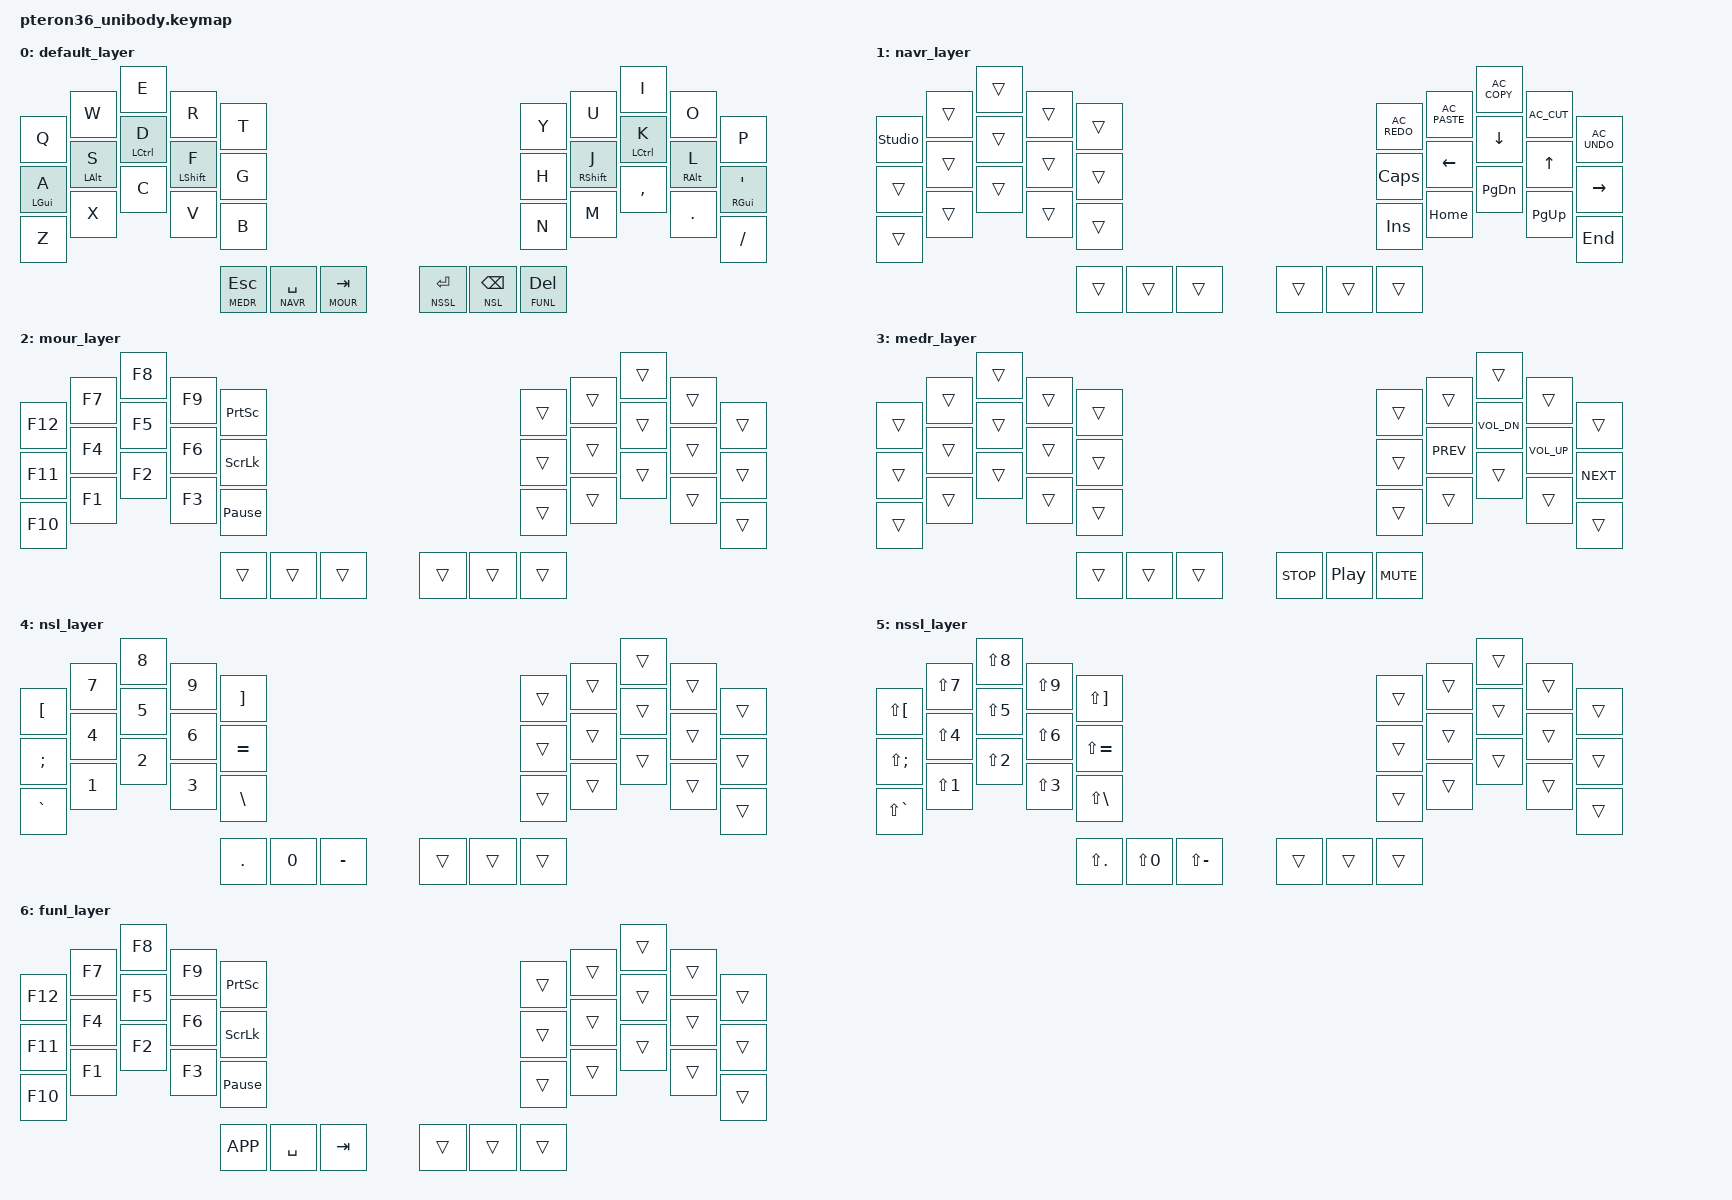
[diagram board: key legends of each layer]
#include <behaviors.dtsi>
#include <dt-bindings/zmk/keys.h>
#include <dt-bindings/zmk/bt.h>
#include <dt-bindings/zmk/ext_power.h>
#include <dt-bindings/zmk/outputs.h>

#define BASE 0
#define NAVR 1
#define MOUR 2
#define MEDR 3
#define NSL 4
#define NSSL 5
#define FUNL 6

/ {
	behaviors {
        hm: homerow_mods {
            compatible = "zmk,behavior-hold-tap";
            label = "HOMEROW_MODS";
            #binding-cells = <2>;
            tapping-term-ms = <200>;
            quick_tap_ms = <0>;
            flavor = "tap-preferred";
            bindings = <&kp>, <&kp>;
        };
    };
	keymap {
		compatible = "zmk,keymap";

		default_layer {
// ------------------------------------------------------------------------------------------------------------
// |  ESC  |  1  |  2  |  3   |  4   |  5   |                   |  6   |  7    |  8    |  9   |   0   |   `   |
// |  TAB  |  Q  |  W  |  E   |  R   |  T   |                   |  Y   |  U    |  I    |  O   |   P   |   -   |
// |  CTRL |  A  |  S  |  D   |  F   |  G   |                   |  H   |  J    |  K    |  L   |   ;   |   '   |
// | SHIFT |  Z  |  X  |  C   |  V   |  B   |   "["  |  |  "]"  |  N   |  M    |  ,    |  .   |   /   | SHIFT |
//                     | ALT  | GUI  | LOWER|  SPACE |  | ENTER | RAISE| BSPC  | GUI   |
			bindings = <
										                																					
	&kp Q  		&kp W 		&kp E		&kp R			&kp T                     							&kp Y		&kp U			&kp I			&kp O		&kp P			
	&hm LGUI A	&hm LALT S	&hm LCTRL D	&hm LSHFT F		&kp G 	                   							&kp H		&hm RSHFT  J	&hm LCTRL  K		&hm RALT  L	&hm RGUI  APOS	
	&kp Z		&kp X		&kp C		&kp V			&kp B										&kp N		&kp M 			&kp COMMA	&kp DOT	&kp FSLH	
                						&lt MEDR ESC	&lt NAVR SPACE 		&lt MOUR TAB 	&lt NSSL RET	&lt NSL BSPC	&lt FUNL DEL 
			>;

			
		};

		navr_layer {
// ------------------------------------------------------------------------------------------------------------
// | BTCLR | BT1 | BT2 |  BT3 |  BT4 |  BT5 |                   |      |       |       |      |       |       |
// |  F1   |  F2 |  F3 |  F4  |  F5  |  F6  |                   |  F7  |  F8   |  F9   |  F10 |  F11  |  F12  |
// |   `   |  !  |  @  |  #   |  $   |  %   |                   |  ^   |  &    |  *    |  (   |   )   |   ~   |
// |       |     |     |      |      |      |        |  |       |      |  _    |  +    |  {   |   }   |  "|"  |
//                     |      |      |      |        |  |       |      |       |       |
			bindings = <

	&studio_unlock	&trans	&trans	&trans	&trans					&kp C_AC_REDO	&kp C_AC_PASTE	&kp C_AC_COPY	&kp C_AC_CUT	&kp C_AC_UNDO	
	&trans	&trans	&trans	&trans	&trans					&kp CAPS	&kp LEFT		&kp DOWN		&kp UP			&kp RIGHT		
	&trans	&trans	&trans	&trans	&trans	            	&kp INS		&kp HOME		&kp PG_DN		&kp PG_UP		&kp END			
                                &trans	&trans	&trans	&trans	&trans	&trans
			>;

			
		};

		mour_layer {
// ------------------------------------------------------------------------------------------------------------
// |       |     |     |      |      |      |                   |      |       |       |      |       |       |
// |   `   |  1  |  2  |  3   |  4   |  5   |                   |  6   |   7   |   8   |  9   |   0   |       |
// |   F1  |  F2 |  F3 |  F4  |  F5  |  F6  |                   |      |   <-  |   ^   |  v   |  ->   |       |
// |   F7  |  F8 |  F9 |  F10 |  F11 |  F12 |        |  |       |  +   |   -   |   =   |  [   |   ]   |   \   |
//                     |      |      |      |        |  |       |      |       |       |
			bindings = <
	&kp F12	&kp	F7	&kp F8	&kp F9	&kp	PSCRN						&trans	&trans	&trans	&trans	&trans	
	&kp	F11	&kp	F4	&kp F5	&kp F6	&kp	SLCK						&trans	&trans	&trans	&trans	&trans	
	&kp	F10	&kp F1	&kp F2	&kp F3	&kp PAUSE_BREAK	            	&trans	&trans	&trans	&trans	&trans	
                        		&trans	&trans	&trans	&trans	&trans	&trans	
			>;

			
		};

		medr_layer {
// ------------------------------------------------------------------------------------------------------------
// |       |     |     |      |      |      |                   |      |       |       |      |       |       |
// |   `   |  1  |  2  |  3   |  4   |  5   |                   |  6   |   7   |   8   |  9   |   0   |       |
// |   F1  |  F2 |  F3 |  F4  |  F5  |  F6  |                   |      |   <-  |   ^   |  v   |  ->   |       |
// |   F7  |  F8 |  F9 |  F10 |  F11 |  F12 |        |  |       |  +   |   -   |   =   |  [   |   ]   |   \   |
//                     |      |      |      |        |  |       |      |       |       |
			bindings = <
	&trans	&trans	&trans	&trans	&trans						&trans		&trans		&trans			&trans			&trans		
	&trans	&trans	&trans	&trans	&trans						&trans		&kp C_PREV	&kp C_VOL_DN	&kp C_VOL_UP	&kp C_NEXT		
	&trans	&trans	&trans	&trans	&trans              		&trans		&trans		&trans			&trans			&trans		
                        	&trans	&trans	&trans	&kp C_STOP	&kp C_PP	&kp C_MUTE				
			>;

			
		};

		nsl_layer {
// ------------------------------------------------------------------------------------------------------------
// |       |     |     |      |      |      |                   |      |       |       |      |       |       |
// |   `   |  1  |  2  |  3   |  4   |  5   |                   |  6   |   7   |   8   |  9   |   0   |       |
// |   F1  |  F2 |  F3 |  F4  |  F5  |  F6  |                   |      |   <-  |   ^   |  v   |  ->   |       |
// |   F7  |  F8 |  F9 |  F10 |  F11 |  F12 |        |  |       |  +   |   -   |   =   |  [   |   ]   |   \   |
//                     |      |      |      |        |  |       |      |       |       |
			bindings = <
	&kp LBKT		&kp N7	&kp N8	&kp N9	&kp RBKT						&trans	&trans	&trans	&trans	&trans	
	&kp SEMICOLON	&kp N4	&kp N5	&kp N6	&kp EQUAL						&trans	&trans	&trans	&trans	&trans	
	&kp GRAVE		&kp N1	&kp N2	&kp N3	&kp BSLH	        			&trans	&trans	&trans	&trans	&trans	
                    				&kp DOT	&kp N0		&kp MINUS	&trans	&trans	&trans	
			>;

			
		};

		nssl_layer {
// ------------------------------------------------------------------------------------------------------------
// |       |     |     |      |      |      |                   |      |       |       |      |       |       |
// |   `   |  1  |  2  |  3   |  4   |  5   |                   |  6   |   7   |   8   |  9   |   0   |       |
// |   F1  |  F2 |  F3 |  F4  |  F5  |  F6  |                   |      |   <-  |   ^   |  v   |  ->   |       |
// |   F7  |  F8 |  F9 |  F10 |  F11 |  F12 |        |  |       |  +   |   -   |   =   |  [   |   ]   |   \   |
//                     |      |      |      |        |  |       |      |       |       |
			bindings = <
	&kp LS(LBKT)		&kp LS(N7)	&kp LS(N8)	&kp LS(N9)	&kp LS(RBKT)					&trans	&trans	&trans	&trans	&trans	
	&kp LS(SEMICOLON)	&kp LS(N4)	&kp LS(N5)	&kp LS(N6)	&kp LS(EQUAL)					&trans	&trans	&trans	&trans	&trans	
	&kp LS(GRAVE)		&kp LS(N1)	&kp LS(N2)	&kp LS(N3)	&kp LS(BSLH)	            	&trans	&trans	&trans	&trans	&trans	
                    				&kp LS(DOT)	&kp LS(N0)	&kp LS(MINUS)	&trans	&trans	&trans		
			>;

			
		};

		funl_layer {
// ------------------------------------------------------------------------------------------------------------
// |       |     |     |      |      |      |                   |      |       |       |      |       |       |
// |   `   |  1  |  2  |  3   |  4   |  5   |                   |  6   |   7   |   8   |  9   |   0   |       |
// |   F1  |  F2 |  F3 |  F4  |  F5  |  F6  |                   |      |   <-  |   ^   |  v   |  ->   |       |
// |   F7  |  F8 |  F9 |  F10 |  F11 |  F12 |        |  |       |  +   |   -   |   =   |  [   |   ]   |   \   |
//                     |      |      |      |        |  |       |      |       |       |
			bindings = <

	&kp F12	&kp	F7	&kp F8	&kp F9	&kp	PSCRN						&trans	&trans	&trans	&trans	&trans	
	&kp	F11	&kp	F4	&kp F5	&kp F6	&kp	SLCK						&trans	&trans	&trans	&trans	&trans	
	&kp	F10	&kp F1	&kp F2	&kp F3	&kp PAUSE_BREAK	            	&trans	&trans	&trans	&trans	&trans
                       	        &kp K_APP	&kp SPACE	&kp TAB	&trans	&trans	&trans	
			>;

			
		};

	};

};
